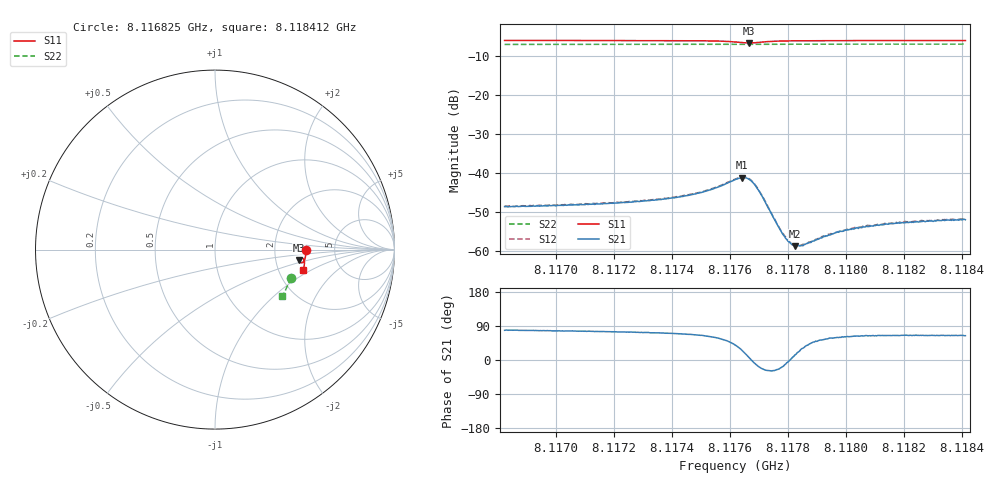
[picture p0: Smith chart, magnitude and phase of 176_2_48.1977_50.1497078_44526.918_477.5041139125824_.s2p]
#  HZ  S  RI  R  50.00
! Rohde & Schwarz Vector Network Analyzer
! Rohde-Schwarz,ZNB20-2Port,1311601062101988,3.16
! Created: UTC 3/20/2024, 11:43:56 AM
! freq[Hz]  re:S11  im:S11  re:S21  im:S21  re:S12  im:S12  re:S22  im:S22
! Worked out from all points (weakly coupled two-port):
!   401 points, 8.116825 GHz to 8.118412 GHz, reference 50 ohm
!   highest |S21| = -41.08 dB at 8.117642 GHz (marker M1); lowest = -58.7 dB at 8.117825 GHz (marker M2)
!   lowest |S11| = -6.6 dB at 8.117666 GHz (marker M3), VSWR 2.77, Z = 135 - j20.5 ohm
!   |S11| at or under -10 dB: nowhere
!   |S22| runs from -6.9 to -6.8 dB; largest |S21 - S12| = 0.00026
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8.1168245e9  0.5064 -0.00354  0.000752 0.00367  0.000783 0.0037  0.4219 -0.1578
8.1170905e9  0.5052 -0.0244  0.000964 0.00385  0.00104 0.00391  0.4158 -0.1753
8.1173565e9  0.5024 -0.0468  0.00146 0.00438  0.00152 0.00444  0.4088 -0.1925
8.1174319e9  0.5008 -0.0541  0.0018 0.0047  0.00188 0.00476  0.4065 -0.1974
8.1175073e9  0.4975 -0.0625  0.00247 0.00521  0.00259 0.00526  0.4045 -0.2023
8.1175629e9  0.4923 -0.0695  0.00367 0.00566  0.00377 0.00573  0.4027 -0.206
8.1176185e9  0.4791 -0.0739  0.00636 0.00532  0.00652 0.00538  0.4003 -0.2093
8.1176423e9  0.4706 -0.0699  0.00796 0.00383  0.00812 0.00383  0.3994 -0.2104
8.1176661e9  0.4664 -0.0591  0.00837 0.00105  0.00854 0.000967  0.3986 -0.2114
8.117682e9  0.4694 -0.0516  0.00745 -0.00075  0.0076 -0.000839  0.3983 -0.2119
8.1177019e9  0.4769 -0.0465  0.0056 -0.00187  0.00567 -0.00197  0.3982 -0.2129
8.1177693e9  0.4942 -0.0537  0.00187 -0.000831  0.0019 -0.000815  0.3969 -0.2176
8.1177852e9  0.4957 -0.0562  0.00155 -0.00046  0.0016 -0.000484  0.3965 -0.2187
8.117809e9  0.4971 -0.0598  0.00128 1.65e-05  0.0013 -1.44e-05  0.3959 -0.2204
8.1178249e9  0.4976 -0.0621  0.00114 0.000269  0.0012 0.000268  0.3953 -0.2214
8.1178487e9  0.4982 -0.0652  0.00103 0.000595  0.00107 0.000582  0.3945 -0.2228
8.1178845e9  0.4985 -0.0695  0.000941 0.000963  0.000974 0.000955  0.3934 -0.2252
8.1179162e9  0.4984 -0.0729  0.000901 0.00118  0.000906 0.00125  0.3924 -0.2273
8.1179758e9  0.4981 -0.0787  0.0009 0.00151  0.000934 0.00154  0.3906 -0.2309
8.1180671e9  0.4971 -0.0869  0.000894 0.00186  0.000916 0.00187  0.3875 -0.2367
8.1181504e9  0.496 -0.0939  0.000969 0.00205  0.001 0.00206  0.3846 -0.2417
8.1184124e9  0.4918 -0.1141  0.00111 0.00229  0.00112 0.00236  0.3751 -0.2576
